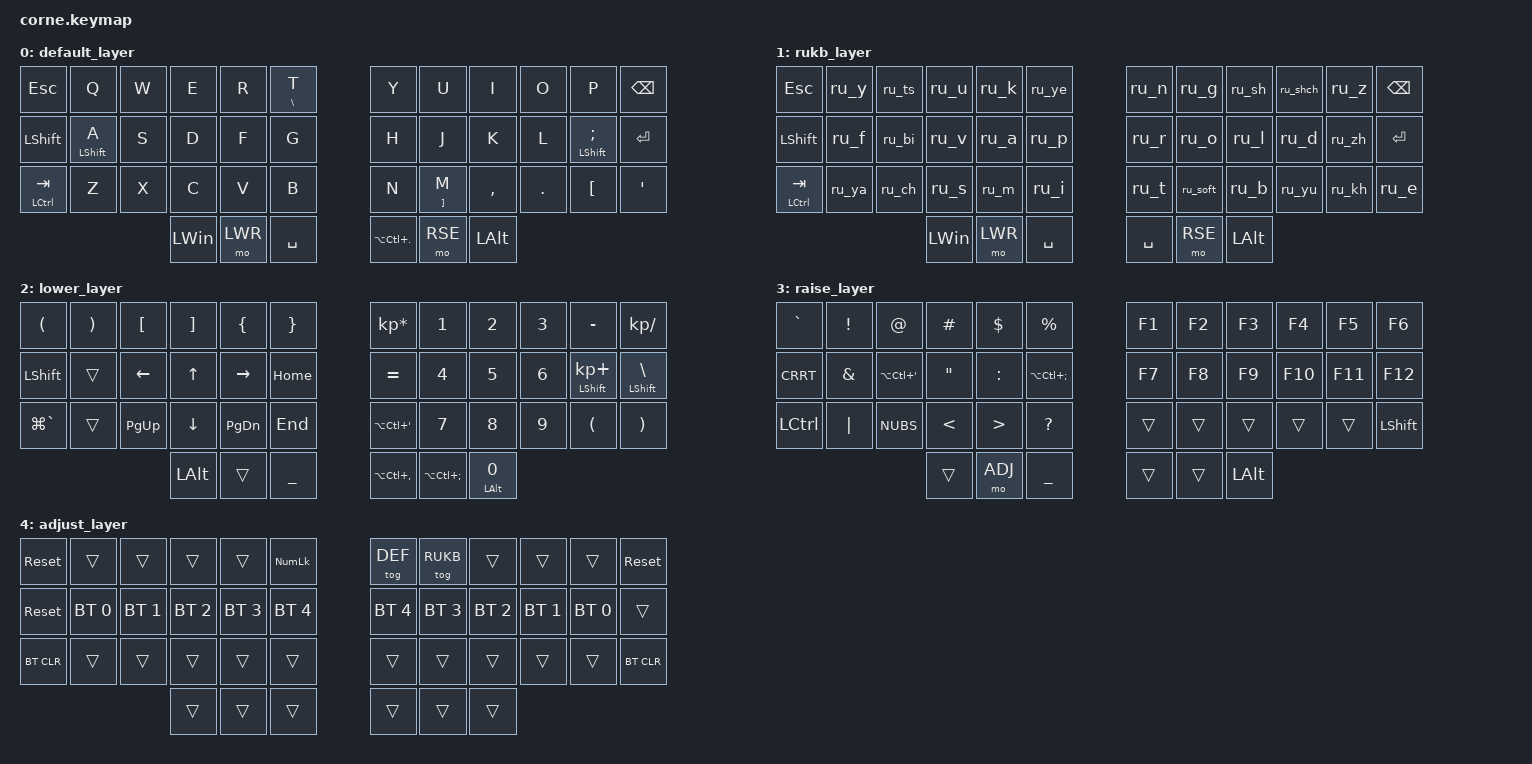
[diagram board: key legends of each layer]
/*
 * Copyright (c) 2020 The ZMK Contributors
 *
 * SPDX-License-Identifier: MIT
 */

#include <behaviors.dtsi>
#include <dt-bindings/zmk/keys.h>
#include <dt-bindings/zmk/bt.h>
#include <dt-bindings/zmk/rgb.h>
#define HOST_OS 2
#include "../zmk-nodefree-config/helper.h"
#include "../zmk-nodefree-config/keypos_def/keypos_42keys.h"
#include "../zmk-nodefree-config/international_chars/russian.dtsi"

#define DEF 0
#define RUKB 1
#define LWR 2
#define RSE 3
#define ADJ 4

&lt { quick_tap_ms = <200>; };
&mt { quick_tap_ms = <200>; };

/ {
    behaviors {
        hm: homerow_mods {
            compatible = "zmk,behavior-hold-tap";
            label = "HOMEROW_MODS";
            #binding-cells = <2>;
            tapping-term-ms = <200>;
            quick_tap_ms = <0>;
            flavor = "tap-preferred";
            bindings = <&kp>, <&kp>;
        };
    };
};

/ {
    combos {
        compatible = "zmk,combos";
        combo_F2 {
            timeout-ms = <50>;
            key-positions = <0 1>;
            bindings = <&kp F2>;
        };
        combo_ENTER {
            timeout-ms = <50>;
            key-positions = <3 4>;
            bindings = <&kp ENTER>;
        };
         combo_BS {
            timeout-ms = <50>;
            key-positions = <4 5>;
            bindings = <&kp BSPC>;
        };
        combo_Del {
            timeout-ms = <50>;
            key-positions = <28 29>;
            bindings = <&kp DEL>;
        };
    };
};

/ {
    macros {
        kpa: kpa {
            compatible = "zmk,behavior-macro-two-param";
            #binding-cells = <2>;
            wait-ms = <60>;
            tap-ms = <40>;
            bindings  = <&macro_press &kp LALT>, <&macro_tap &macro_param_1to1 &kp MACRO_PLACEHOLDER &macro_param_2to1 &kp MACRO_PLACEHOLDER>, <&macro_release &kp LALT>;
        };

        kx: kx {
            compatible = "zmk,behavior-macro";
            #binding-cells = <0>;
            wait-ms = <20>;
            tap-ms = <40>;
            bindings  = <&macro_tap &kp F12 &kp Q &kp F12>;
        };

        kpdoot: kpdoot {
            compatible = "zmk,behavior-macro";
            #binding-cells = <0>;
            wait-ms = <60>;
            tap-ms = <40>;
            bindings  = <&macro_press &kp LALT>, <&macro_tap     &kp KP_N4 &kp KP_N6>, <&macro_release &kp LALT>;
        };
    };
};


/ {
        keymap {
                compatible = "zmk,keymap";

                default_layer {
                        bindings = <
// ╭─────────────┬─────────────┬─────────────┬─────────────┬─────────────┬─────────────╮   ╭─────────────┬─────────────┬─────────────┬─────────────┬─────────────┬─────────────╮
     &kp ESC       &kp Q         &kp W         &kp E         &kp R         &hm BSLH T        &kp Y         &kp U         &kp I         &kp O         &kp P         &kp BSPC
// ├─────────────┼─────────────┼─────────────┼─────────────┼─────────────┼─────────────┤   ├─────────────┼─────────────┼─────────────┼─────────────┼─────────────┼─────────────┤
     &kp LSHFT     &hm LSHFT A   &kp S         &kp D         &kp F         &kp G             &kp H         &kp J         &kp K         &kp L         &hm LSHFT SEMI &kp ENTER
// ├─────────────┼─────────────┼─────────────┼─────────────┼─────────────┼─────────────┤   ├─────────────┼─────────────┼─────────────┼─────────────┼─────────────┼─────────────┤
    &hm LCTRL TAB  &kp Z         &kp X         &kp C         &kp V         &kp B             &kp N         &hm RBKT M    &kp COMMA     &kp DOT       &kp LBKT      &kp SQT
// ├─────────────┼─────────────┼─────────────┼─────────────┼─────────────┼─────────────┤   ├─────────────┼─────────────┼─────────────┼─────────────┼─────────────┼─────────────┤
                                               &kp LWIN      &mo LWR       &kp SPACE         &kp LA(LC(DOT)) &mo RSE       &kp LALT
//                                           ╰─────────────┴─────────────┴─────────────╯   ╰─────────────┴─────────────┴─────────────╯

                        >;
                };
   
  
                rukb_layer {
                        bindings = <
// ╭─────────────┬─────────────┬─────────────┬─────────────┬─────────────┬─────────────╮   ╭─────────────┬─────────────┬─────────────┬─────────────┬─────────────┬─────────────╮
     &kp ESC       &ru_y         &ru_ts        &ru_u         &ru_k         &ru_ye            &ru_n         &ru_g         &ru_sh        &ru_shch      &ru_z         &kp BSPC
// ├─────────────┼─────────────┼─────────────┼─────────────┼─────────────┼─────────────┤   ├─────────────┼─────────────┼─────────────┼─────────────┼─────────────┼─────────────┤
     &kp LSHFT     &ru_f         &ru_bi        &ru_v         &ru_a         &ru_p             &ru_r         &ru_o         &ru_l         &ru_d         &ru_zh        &kp ENTER
// ├─────────────┼─────────────┼─────────────┼─────────────┼─────────────┼─────────────┤   ├─────────────┼─────────────┼─────────────┼─────────────┼─────────────┼─────────────┤
    &hm LCTRL TAB  &ru_ya        &ru_ch        &ru_s         &ru_m         &ru_i             &ru_t         &ru_soft      &ru_b         &ru_yu        &ru_kh        &ru_e
// ├─────────────┼─────────────┼─────────────┼─────────────┼─────────────┼─────────────┤   ├─────────────┼─────────────┼─────────────┼─────────────┼─────────────┼─────────────┤
                                               &kp LWIN      &mo LWR       &kp SPACE         &kp SPACE     &mo RSE       &kp LALT
//                                           ╰─────────────┴─────────────┴─────────────╯   ╰─────────────┴─────────────┴─────────────╯
                        >;
                };
  
   
  
                lower_layer {

                        bindings = <
// ╭─────────────┬─────────────┬─────────────┬─────────────┬─────────────┬─────────────╮   ╭─────────────┬─────────────┬─────────────┬─────────────┬─────────────┬─────────────╮
     &kp LPAR      &kp RPAR      &kp LBKT      &kp RBKT      &kp LBRC      &kp RBRC          &kp KP_ASTERISK  &kp N1     &kp N2        &kp N3        &kp MINUS     &kp KP_SLASH       
// ├─────────────┼─────────────┼─────────────┼─────────────┼─────────────┼─────────────┤   ├─────────────┼─────────────┼─────────────┼─────────────┼─────────────┼─────────────┤
     &kp LSHFT     &trans        &kp LEFT      &kp UP        &kp RIGHT     &kp HOME          &kp EQUAL     &kp N4        &kp N5        &kp N6        &hm LSHFT KP_PLUS &hm LSHFT BSLH
// ├─────────────┼─────────────┼─────────────┼─────────────┼─────────────┼─────────────┤   ├─────────────┼─────────────┼─────────────┼─────────────┼─────────────┼─────────────┤
     &kp LG(GRAVE) &trans        &kp PG_UP     &kp DOWN      &kp PG_DN     &kp END           &kp LA(LC(SQT)) &kp N7      &kp N8        &kp N9        &kp LPAR      &kp RPAR
// ├─────────────┼─────────────┼─────────────┼─────────────┼─────────────┼─────────────┤   ├─────────────┼─────────────┼─────────────┼─────────────┼─────────────┼─────────────┤
                                               &kp LALT      &trans        &kp UNDER         &kp LA(LC(COMMA)) &kp LA(LC(SEMI)) &hm LALT N0
//                                           ╰─────────────┴─────────────┴─────────────╯   ╰─────────────────┴─────────────────┴─────────────╯
                        >;
                };
  
  
                  raise_layer {
                        bindings = <
// ╭─────────────┬─────────────┬─────────────┬─────────────┬─────────────┬─────────────╮   ╭─────────────┬─────────────┬─────────────┬─────────────┬─────────────┬─────────────╮
     &kp GRAVE     &kp EXCL      &kp AT        &kp HASH      &kp DLLR      &kp PRCNT         &kp F1        &kp F2        &kp F3        &kp F4        &kp F5        &kp F6
// ├─────────────┼─────────────┼─────────────┼─────────────┼─────────────┼─────────────┤   ├─────────────┼─────────────┼─────────────┼─────────────┼─────────────┼─────────────┤
     &kp CRRT      &kp AMPS      &kp LA(LC(SQT)) &kp DQT     &kp COLN      &kp LA(LC(SEMI))  &kp F7        &kp F8        &kp F9        &kp F10       &kp F11       &kp F12
// ├─────────────┼─────────────┼─────────────┼─────────────┼─────────────┼─────────────┤   ├─────────────┼─────────────┼─────────────┼─────────────┼─────────────┼─────────────┤
     &kp LCTRL     &kp PIPE      &kp NUBS      &kp LT        &kp GT        &kp QMARK         &trans        &trans        &trans        &trans        &trans        &kp LSHFT
// ├─────────────┼─────────────┼─────────────┼─────────────┼─────────────┼─────────────┤   ├─────────────┼─────────────┼─────────────┼─────────────┼─────────────┼─────────────┤
                                               &trans        &mo ADJ       &kp UNDER         &trans        &trans        &kp LALT
//                                           ╰─────────────┴─────────────┴─────────────╯   ╰─────────────┴─────────────┴─────────────╯
                        >;
                };


                adjust_layer {
                        bindings = <
// ╭─────────────┬─────────────┬─────────────┬─────────────┬─────────────┬─────────────╮   ╭─────────────┬─────────────┬─────────────┬─────────────┬─────────────┬─────────────╮
     &sys_reset    &trans        &trans        &trans        &trans        &kp KP_NUM        &tog DEF      &tog RUKB     &trans        &trans        &trans        &sys_reset
// ├─────────────┼─────────────┼─────────────┼─────────────┼─────────────┼─────────────┤   ├─────────────┼─────────────┼─────────────┼─────────────┼─────────────┼─────────────┤
     &sys_reset    &bt BT_SEL 0  &bt BT_SEL 1  &bt BT_SEL 2  &bt BT_SEL 3  &bt BT_SEL 4      &bt BT_SEL 4  &bt BT_SEL 3  &bt BT_SEL 2  &bt BT_SEL 1  &bt BT_SEL 0  &trans
// ├─────────────┼─────────────┼─────────────┼─────────────┼─────────────┼─────────────┤   ├─────────────┼─────────────┼─────────────┼─────────────┼─────────────┼─────────────┤
     &bt BT_CLR    &trans        &trans        &trans        &trans        &trans            &trans        &trans        &trans        &trans        &trans        &bt BT_CLR
// ├─────────────┼─────────────┼─────────────┼─────────────┼─────────────┼─────────────┤   ├─────────────┼─────────────┼─────────────┼─────────────┼─────────────┼─────────────┤
                                               &trans        &trans        &trans            &trans        &trans        &trans
//                                           ╰─────────────┴─────────────┴─────────────╯   ╰─────────────┴─────────────┴─────────────╯
                        >;
                };
         };
};
